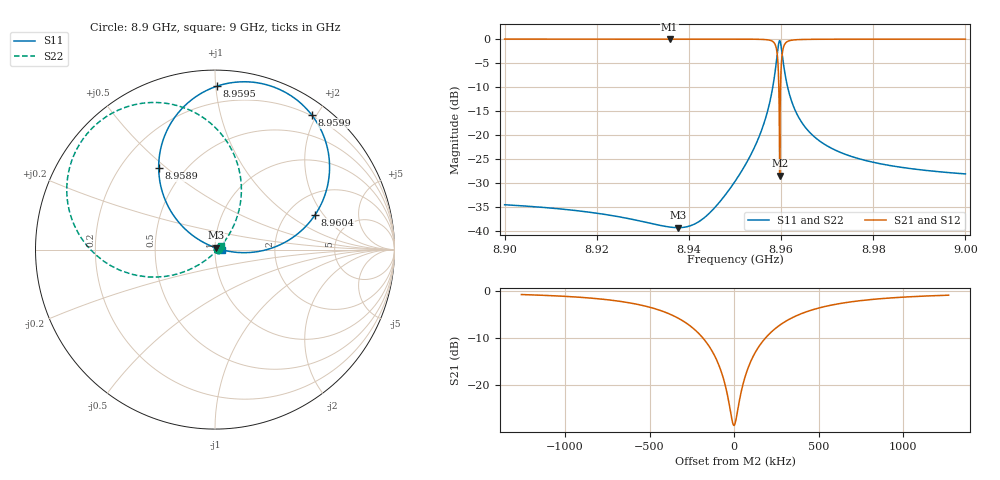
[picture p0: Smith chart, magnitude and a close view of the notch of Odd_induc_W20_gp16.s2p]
! Sonnet Data File
! From: emgraph Version : 16.52
! From Project: Resonator2_cp
! Data is De-embedded
! Data File Written: 10/09/2017 11:12:09
!< HDATE 10/09/2017 07:45:37
!< MDATE 10/09/2017 07:45:37
!< PARAMS
!< Length = 400.0
!< Pwid1 = 2000.0
!< Pwid2 = 2000.0
!< Air_gap = 12.0
!< Width = 20.0
!< gap = 16.0
!< END PARAMS
# GHZ S MA R 40.14000
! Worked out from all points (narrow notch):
!   1595 points, 8.9 GHz to 9 GHz, reference 40.14 ohm
!   highest |S21| = 0.00 dB at 8.9358 GHz (marker M1); lowest = -28.5 dB at 8.9597 GHz (marker M2)
!   notch at M2: 28.5 dB deep, 214 kHz wide at half that depth
!   lowest |S11| = -39.4 dB at 8.9376 GHz (marker M3), VSWR 1.02, Z = 40.4 + j0.819 ohm
!   |S11| at or under -10 dB: start of sweep to 8.9582 GHz; 8.961415 GHz to end of sweep
!   |S22| runs from -39.4 to -0.3 dB; largest |S21 - S12| = 0
!   S11 on the Smith chart (normalised r, x): 8.9 GHz: 1.04, +0.01; 8.9589 GHz: 0.36, +0.47; 8.9595 GHz: 0.10, +1.00; 8.9599 GHz: 0.19, +1.94; 8.9604 GHz: 2.79, +1.67; 9 GHz: 1.08, -0.00
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8.9  0.01867 17.2  0.9998 -75.5  0.9998 -75.5  0.01866 11.9
!< P1 F=8.9 Eeff=(5.24798951 -2.3049e-5) Z0=(40.1339254 8.93825e-5) R=0.0 C=0.0
!< P2 F=8.9 Eeff=(5.24798951 -2.3049e-5) Z0=(40.1339254 8.93825e-5) R=0.0 C=0.0
8.9167  0.01597 24.0  0.9999 -75.8  0.9999 -75.8  0.01596 4.5
8.9334  0.01145 50.9  0.9999 -76.4  0.9999 -76.4  0.01142 -23.7
8.9358  0.01092 60.9  0.9999 -76.5  0.9999 -76.5  0.01088 -33.9
8.9376  0.01076 70.4  0.9999 -76.7  0.9999 -76.7  0.01071 -43.7
8.9433  0.01362 108.0  0.9999 -77.2  0.9999 -77.2  0.01355 -82.6
8.95  0.0327 139.6  0.9993 -78.5  0.9993 -78.5  0.03262 -117.1
8.9569  0.1652 147.0  0.9849 -86.3  0.9849 -86.3  0.1651 -140.6
8.958188  0.3137 139.7  0.9449 -95.1  0.9449 -95.1  0.3134 -151.6
8.958924  0.5519 124.7  0.8187 -110.3  0.8187 -110.3  0.5515 -168.5
8.959292  0.7775 106.2  0.5894 -127.8  0.5894 -127.8  0.7768 172.2
8.9595  0.9097 89.5  0.3282 -141.5  0.3282 -141.5  0.909 154.9
8.959598  0.9498 79.9  0.1677 -144.6  0.1677 -144.6  0.949 145.2
8.959691  0.963 70.6  0.03739 -75.1  0.03739 -75.1  0.9622 135.6
8.959779  0.9514 61.7  0.161 -9.0  0.161 -9.0  0.9506 126.5
8.959856  0.9236 54.3  0.2868 -10.5  0.2868 -10.5  0.9229 118.9
8.9601  0.7805 35.1  0.5879 -25.7  0.5879 -25.7  0.7799 99.2
8.960429  0.5916 19.2  0.7905 -40.6  0.7905 -40.6  0.5911 82.6
8.9622  0.2309 -3.0  0.9713 -63.6  0.9713 -63.6  0.2307 56.8
8.9667  0.1007 -7.5  0.9947 -71.2  0.9947 -71.2  0.1007 45.4
8.9834  0.04809 -4.0  0.9988 -74.4  0.9988 -74.4  0.04809 35.3
9  0.03915 -1.6  0.9992 -75.1  0.9992 -75.1  0.03914 31.6
